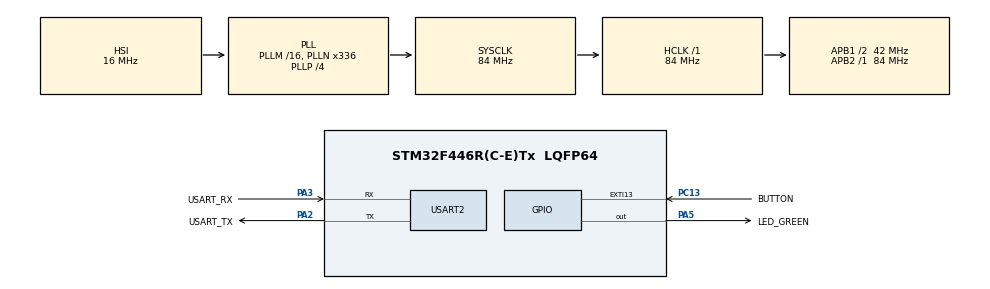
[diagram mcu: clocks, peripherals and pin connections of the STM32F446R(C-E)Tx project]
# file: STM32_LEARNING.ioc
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Mcu.Family=STM32F4
Mcu.Name=STM32F446R(C-E)Tx
Mcu.Package=LQFP64
NUCLEO-F446RE.BUTTON=0
NVIC.EXTI15_10_IRQn=true\:0\:0\:false\:false\:true\:true\:true\:true
NVIC.PriorityGroup=NVIC_PRIORITYGROUP_0
NVIC.TIM6_DAC_IRQn=true\:0\:0\:false\:false\:true\:true\:true\:true
PA13.GPIO_Label=TMS
PA13.Mode=Serial_Wire
PA13.Signal=SYS_JTMS-SWDIO
PA14.GPIO_Label=TCK
PA14.Mode=Serial_Wire
PA14.Signal=SYS_JTCK-SWCLK
PA2.GPIO_Label=USART_TX
PA2.GPIO_Speed=GPIO_SPEED_FREQ_VERY_HIGH
PA2.Mode=Asynchronous
PA2.Signal=USART2_TX
PA3.GPIO_Label=USART_RX
PA3.Mode=Asynchronous
PA3.Signal=USART2_RX
PA5.GPIO_Label=LED_GREEN
PA5.Signal=GPIO_Output
PB3.GPIO_Label=SWO
PB3.Signal=SYS_JTDO-SWO
PC13.GPIO_Label=BUTTON
PC13.Signal=GPXTI13
PC14-OSC32_IN.Signal=RCC_OSC32_IN
PC15-OSC32_OUT.Signal=RCC_OSC32_OUT
PH0-OSC_IN.Signal=RCC_OSC_IN
PH1-OSC_OUT.Signal=RCC_OSC_OUT
ProjectManager.HeapSize=0x200
ProjectManager.StackSize=0x400
ProjectManager.TargetToolchain=STM32CubeIDE
RCC.AHBFreq_Value=84000000
RCC.APB1CLKDivider=RCC_HCLK_DIV2
RCC.APB1Freq_Value=42000000
RCC.APB1TimFreq_Value=84000000
RCC.APB2Freq_Value=84000000
RCC.APB2TimFreq_Value=84000000
RCC.CortexFreq_Value=84000000
RCC.FLatency-AdvancedSettings=FLASH_LATENCY_2
RCC.HCLKFreq_Value=84000000
RCC.HSE_VALUE=8000000
RCC.HSI_VALUE=16000000
RCC.LSE_VALUE=32768
RCC.PLLN=336
RCC.PLLP=RCC_PLLP_DIV4
RCC.SYSCLKFreq_VALUE=84000000
RCC.SYSCLKSource=RCC_SYSCLKSOURCE_PLLCLK
RCC.USBFreq_Value=168000000
RCC.VCOOutputFreq_Value=336000000
TIM6.AutoReloadPreload=TIM_AUTORELOAD_PRELOAD_ENABLE
TIM6.Period=4999
TIM6.Prescaler=8399
USART2.VirtualMode=VM_ASYNC
VP_NUCLEO-F446RE_VS_BSP_COMMON.Mode=COMMON
VP_TIM6_VS_ClockSourceINT.Mode=Enable_Timer
board=NUCLEO-F446RE

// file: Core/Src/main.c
/* USER CODE BEGIN Header */
/**
  ******************************************************************************
  * @file           : main.c
  * @brief          : Main program body
  ******************************************************************************
  * @attention
  *
  * Copyright (c) 2026 STMicroelectronics.
  * All rights reserved.
  *
  * This software is licensed under terms that can be found in the LICENSE file
  * in the root directory of this software component.
  * If no LICENSE file comes with this software, it is provided AS-IS.
  *
  ******************************************************************************
  */
/* USER CODE END Header */
#include "main.h"

/* USER CODE BEGIN Includes */
#include <stdio.h>
/* USER CODE END Includes */

TIM_HandleTypeDef htim6;

UART_HandleTypeDef huart2;

/* USER CODE BEGIN PV */
volatile uint8_t buttonPressed = 0;
uint32_t pressCount = 0;
/* USER CODE END PV */

void SystemClock_Config(void);
static void MX_GPIO_Init(void);
static void MX_USART2_UART_Init(void);
static void MX_TIM6_Init(void);

/* USER CODE BEGIN 0 */
/* USER CODE BEGIN 0 */
int __io_putchar(int ch)
{
    HAL_UART_Transmit(&huart2, (uint8_t *)&ch, 1, HAL_MAX_DELAY);
    return ch;
}

void HAL_GPIO_EXTI_Callback(uint16_t GPIO_Pin)
{
    static uint32_t lastPressTime = 0;
    uint32_t now = HAL_GetTick();

    if (GPIO_Pin == BUTTON_Pin && (now - lastPressTime) > 200)
    {
        buttonPressed = 1;
        lastPressTime = now;
    }
}
void HAL_TIM_PeriodElapsedCallback(TIM_HandleTypeDef *htim)
{
    if (htim->Instance == TIM6)
    {
        HAL_GPIO_TogglePin(LED_GREEN_GPIO_Port, LED_GREEN_Pin);
    }
}
/* USER CODE END 0 */

int main(void)
{

  /* MCU Configuration--------------------------------------------------------*/

  /* Reset of all peripherals, Initializes the Flash interface and the Systick. */
  HAL_Init();

  /* Configure the system clock */
  SystemClock_Config();

  /* Initialize all configured peripherals */
  MX_GPIO_Init();
  MX_USART2_UART_Init();
  MX_TIM6_Init();
  /* USER CODE BEGIN 2 */
  setvbuf(stdout, NULL, _IONBF, 0);
printf("ready press the blue button in the board \r\n");
HAL_TIM_Base_Start_IT(&htim6);
  /* USER CODE END 2 */

  /* Infinite loop */
  while (1)
  {

    /* USER CODE BEGIN 3 */
	  if (buttonPressed)
	  {
	      buttonPressed = 0;
	      HAL_GPIO_TogglePin(LED_GREEN_GPIO_Port, LED_GREEN_Pin);
	      pressCount++;
	      printf("[%lu ms] Press %lu\r\n", HAL_GetTick(), pressCount);
	  }
  }
  /* USER CODE END 3 */
}

void SystemClock_Config(void)
{
  RCC_OscInitTypeDef RCC_OscInitStruct = {0};
  RCC_ClkInitTypeDef RCC_ClkInitStruct = {0};

  /** Configure the main internal regulator output voltage
  */
  __HAL_RCC_PWR_CLK_ENABLE();
  __HAL_PWR_VOLTAGESCALING_CONFIG(PWR_REGULATOR_VOLTAGE_SCALE3);

  /** Initializes the RCC Oscillators according to the specified parameters
  * in the RCC_OscInitTypeDef structure.
  */
  RCC_OscInitStruct.OscillatorType = RCC_OSCILLATORTYPE_HSI;
  RCC_OscInitStruct.HSIState = RCC_HSI_ON;
  RCC_OscInitStruct.HSICalibrationValue = RCC_HSICALIBRATION_DEFAULT;
  RCC_OscInitStruct.PLL.PLLState = RCC_PLL_ON;
  RCC_OscInitStruct.PLL.PLLSource = RCC_PLLSOURCE_HSI;
  RCC_OscInitStruct.PLL.PLLM = 16;
  RCC_OscInitStruct.PLL.PLLN = 336;
  RCC_OscInitStruct.PLL.PLLP = RCC_PLLP_DIV4;
  RCC_OscInitStruct.PLL.PLLQ = 2;
  RCC_OscInitStruct.PLL.PLLR = 2;
  if (HAL_RCC_OscConfig(&RCC_OscInitStruct) != HAL_OK)
  {
    Error_Handler();
  }

  /** Initializes the CPU, AHB and APB buses clocks
  */
  RCC_ClkInitStruct.ClockType = RCC_CLOCKTYPE_HCLK|RCC_CLOCKTYPE_SYSCLK
                              |RCC_CLOCKTYPE_PCLK1|RCC_CLOCKTYPE_PCLK2;
  RCC_ClkInitStruct.SYSCLKSource = RCC_SYSCLKSOURCE_PLLCLK;
  RCC_ClkInitStruct.AHBCLKDivider = RCC_SYSCLK_DIV1;
  RCC_ClkInitStruct.APB1CLKDivider = RCC_HCLK_DIV2;
  RCC_ClkInitStruct.APB2CLKDivider = RCC_HCLK_DIV1;

  if (HAL_RCC_ClockConfig(&RCC_ClkInitStruct, FLASH_LATENCY_2) != HAL_OK)
  {
    Error_Handler();
  }
}

static void MX_TIM6_Init(void)
{

  TIM_MasterConfigTypeDef sMasterConfig = {0};

  htim6.Instance = TIM6;
  htim6.Init.Prescaler = 8399;
  htim6.Init.CounterMode = TIM_COUNTERMODE_UP;
  htim6.Init.Period = 4999;
  htim6.Init.AutoReloadPreload = TIM_AUTORELOAD_PRELOAD_ENABLE;
  if (HAL_TIM_Base_Init(&htim6) != HAL_OK)
  {
    Error_Handler();
  }
  sMasterConfig.MasterOutputTrigger = TIM_TRGO_RESET;
  sMasterConfig.MasterSlaveMode = TIM_MASTERSLAVEMODE_DISABLE;
  if (HAL_TIMEx_MasterConfigSynchronization(&htim6, &sMasterConfig) != HAL_OK)
  {
    Error_Handler();
  }

}

static void MX_USART2_UART_Init(void)
{

  huart2.Instance = USART2;
  huart2.Init.BaudRate = 115200;
  huart2.Init.WordLength = UART_WORDLENGTH_8B;
  huart2.Init.StopBits = UART_STOPBITS_1;
  huart2.Init.Parity = UART_PARITY_NONE;
  huart2.Init.Mode = UART_MODE_TX_RX;
  huart2.Init.HwFlowCtl = UART_HWCONTROL_NONE;
  huart2.Init.OverSampling = UART_OVERSAMPLING_16;
  if (HAL_UART_Init(&huart2) != HAL_OK)
  {
    Error_Handler();
  }

}

static void MX_GPIO_Init(void)
{
  GPIO_InitTypeDef GPIO_InitStruct = {0};

  /* GPIO Ports Clock Enable */
  __HAL_RCC_GPIOC_CLK_ENABLE();
  __HAL_RCC_GPIOH_CLK_ENABLE();
  __HAL_RCC_GPIOA_CLK_ENABLE();
  __HAL_RCC_GPIOB_CLK_ENABLE();

  /*Configure GPIO pin Output Level */
  HAL_GPIO_WritePin(LED_GREEN_GPIO_Port, LED_GREEN_Pin, GPIO_PIN_RESET);

  /*Configure GPIO pin : BUTTON_Pin */
  GPIO_InitStruct.Pin = BUTTON_Pin;
  GPIO_InitStruct.Mode = GPIO_MODE_IT_RISING;
  GPIO_InitStruct.Pull = GPIO_NOPULL;
  HAL_GPIO_Init(BUTTON_GPIO_Port, &GPIO_InitStruct);

  /*Configure GPIO pin : LED_GREEN_Pin */
  GPIO_InitStruct.Pin = LED_GREEN_Pin;
  GPIO_InitStruct.Mode = GPIO_MODE_OUTPUT_PP;
  GPIO_InitStruct.Pull = GPIO_NOPULL;
  GPIO_InitStruct.Speed = GPIO_SPEED_FREQ_LOW;
  HAL_GPIO_Init(LED_GREEN_GPIO_Port, &GPIO_InitStruct);

  /* EXTI interrupt init*/
  HAL_NVIC_SetPriority(EXTI15_10_IRQn, 0, 0);
  HAL_NVIC_EnableIRQ(EXTI15_10_IRQn);

}

void Error_Handler(void)
{
  __disable_irq();
  while (1)
  {
  }
}
